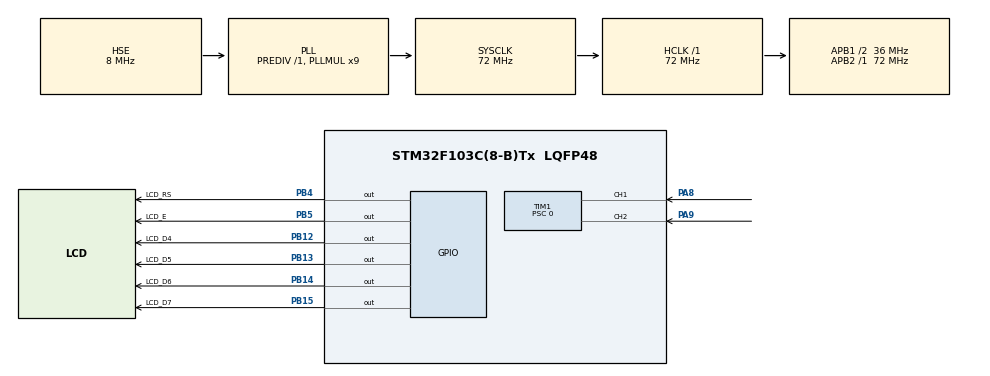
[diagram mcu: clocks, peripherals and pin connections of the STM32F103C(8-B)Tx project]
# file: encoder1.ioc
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Mcu.Family=STM32F1
Mcu.Name=STM32F103C(8-B)Tx
Mcu.Package=LQFP48
NVIC.PriorityGroup=NVIC_PRIORITYGROUP_4
PA13.Mode=Serial_Wire
PA13.Signal=SYS_JTMS-SWDIO
PA14.Mode=Serial_Wire
PA14.Signal=SYS_JTCK-SWCLK
PA8.GPIO_PuPd=GPIO_PULLUP
PA8.Signal=S_TIM1_CH1
PA9.GPIO_PuPd=GPIO_PULLUP
PA9.Signal=S_TIM1_CH2
PB12.GPIO_Label=LCD_D4
PB12.Signal=GPIO_Output
PB13.GPIO_Label=LCD_D5
PB13.Signal=GPIO_Output
PB14.GPIO_Label=LCD_D6
PB14.Signal=GPIO_Output
PB15.GPIO_Label=LCD_D7
PB15.Signal=GPIO_Output
PB4.GPIO_Label=LCD_RS
PB4.Signal=GPIO_Output
PB5.GPIO_Label=LCD_E
PB5.Signal=GPIO_Output
PD0-OSC_IN.Mode=HSE-External-Oscillator
PD0-OSC_IN.Signal=RCC_OSC_IN
PD1-OSC_OUT.Mode=HSE-External-Oscillator
PD1-OSC_OUT.Signal=RCC_OSC_OUT
ProjectManager.HeapSize=0x200
ProjectManager.StackSize=0x400
ProjectManager.TargetToolchain=SW4STM32
RCC.AHBFreq_Value=72000000
RCC.APB1CLKDivider=RCC_HCLK_DIV2
RCC.APB1Freq_Value=36000000
RCC.APB1TimFreq_Value=72000000
RCC.APB2Freq_Value=72000000
RCC.APB2TimFreq_Value=72000000
RCC.HCLKFreq_Value=72000000
RCC.PLLMUL=RCC_PLL_MUL9
RCC.PLLSourceVirtual=RCC_PLLSOURCE_HSE
RCC.SYSCLKFreq_VALUE=72000000
RCC.SYSCLKSource=RCC_SYSCLKSOURCE_PLLCLK
RCC.USBFreq_Value=72000000
SH.S_TIM1_CH1.0=TIM1_CH1,Encoder_Interface
SH.S_TIM1_CH2.0=TIM1_CH2,Encoder_Interface
TIM1.ClockDivision=TIM_CLOCKDIVISION_DIV1
TIM1.CounterMode=TIM_COUNTERMODE_UP
TIM1.EncoderMode=TIM_ENCODERMODE_TI1
TIM1.IC1Filter=0
TIM1.IC1Prescaler=TIM_ICPSC_DIV1
TIM1.IC2Filter=0
TIM1.IC2Prescaler=TIM_ICPSC_DIV1
TIM1.Period=255
TIM1.Prescaler=0
board=custom

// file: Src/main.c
/**
  ******************************************************************************
  * @file           : main.c
  * @brief          : Main program body
  ******************************************************************************
  ** This notice applies to any and all portions of this file
  * that are not between comment pairs USER CODE BEGIN and
  * USER CODE END. Other portions of this file, whether
  * inserted by the user or by software development tools
  * are owned by their respective copyright owners.
  *
  * COPYRIGHT(c) 2018 STMicroelectronics
  *
  * Redistribution and use in source and binary forms, with or without modification,
  * are permitted provided that the following conditions are met:
  *   1. Redistributions of source code must retain the above copyright notice,
  *      this list of conditions and the following disclaimer.
  *   2. Redistributions in binary form must reproduce the above copyright notice,
  *      this list of conditions and the following disclaimer in the documentation
  *      and/or other materials provided with the distribution.
  *   3. Neither the name of STMicroelectronics nor the names of its contributors
  *      may be used to endorse or promote products derived from this software
  *      without specific prior written permission.
  *
  * THIS SOFTWARE IS PROVIDED BY THE COPYRIGHT HOLDERS AND CONTRIBUTORS "AS IS"
  * AND ANY EXPRESS OR IMPLIED WARRANTIES, INCLUDING, BUT NOT LIMITED TO, THE
  * IMPLIED WARRANTIES OF MERCHANTABILITY AND FITNESS FOR A PARTICULAR PURPOSE ARE
  * DISCLAIMED. IN NO EVENT SHALL THE COPYRIGHT HOLDER OR CONTRIBUTORS BE LIABLE
  * FOR ANY DIRECT, INDIRECT, INCIDENTAL, SPECIAL, EXEMPLARY, OR CONSEQUENTIAL
  * DAMAGES (INCLUDING, BUT NOT LIMITED TO, PROCUREMENT OF SUBSTITUTE GOODS OR
  * SERVICES; LOSS OF USE, DATA, OR PROFITS; OR BUSINESS INTERRUPTION) HOWEVER
  * CAUSED AND ON ANY THEORY OF LIABILITY, WHETHER IN CONTRACT, STRICT LIABILITY,
  * OR TORT (INCLUDING NEGLIGENCE OR OTHERWISE) ARISING IN ANY WAY OUT OF THE USE
  * OF THIS SOFTWARE, EVEN IF ADVISED OF THE POSSIBILITY OF SUCH DAMAGE.
  *
  ******************************************************************************
  */
#include "main.h"
#include "stm32f1xx_hal.h"

/* USER CODE BEGIN Includes */
#include "hd44780.h"
/* USER CODE END Includes */

TIM_HandleTypeDef htim1;

/* USER CODE BEGIN PV */
/* Private variables ---------------------------------------------------------*/
uint8_t plota_valor = 0, atualiza_valores = 1, valor_atual, valor_anterior;

/* USER CODE END PV */

void SystemClock_Config(void);
static void MX_GPIO_Init(void);
static void MX_TIM1_Init(void);

/* USER CODE BEGIN PFP */
/* Private function prototypes -----------------------------------------------*/

/* USER CODE END PFP */

int main(void)
{

  /* MCU Configuration----------------------------------------------------------*/

  /* Reset of all peripherals, Initializes the Flash interface and the Systick. */
  HAL_Init();

  /* Configure the system clock */
  SystemClock_Config();

  /* Initialize all configured peripherals */
  MX_GPIO_Init();
  MX_TIM1_Init();
  /* USER CODE BEGIN 2 */
  HAL_Delay(100);
  lcdInit();
  HAL_TIM_Encoder_Start(&htim1,TIM_CHANNEL_ALL);
  /* USER CODE END 2 */

  /* Infinite loop */
  /* USER CODE BEGIN WHILE */

  lcdClrScr();
  lcdGoto(LCD_1st_LINE,0);
  lcdPuts("Encoder:\nValor=");
  lcdItos(valor_atual);

  while (1)
  {
	  valor_atual = TIM1->CNT;
	  if(atualiza_valores == 1)
	  {
		  valor_anterior = valor_atual;
		  atualiza_valores = 0;
	  }

	  if(valor_atual != valor_anterior)
	  {
		  valor_anterior = valor_atual;
		  plota_valor = 1;
		  //HAL_Delay(400);
	  }

	  if(plota_valor == 1)
	  {
		  lcdGoto(LCD_2nd_LINE,0);
		  lcdPuts("Valor=    ");
		  lcdGoto(LCD_2nd_LINE,6);
		  lcdItos(valor_atual);
		  plota_valor = 0;
	  }

  /* USER CODE END WHILE */

  }

}

void SystemClock_Config(void)
{

  RCC_OscInitTypeDef RCC_OscInitStruct;
  RCC_ClkInitTypeDef RCC_ClkInitStruct;

    /**Initializes the CPU, AHB and APB busses clocks
    */
  RCC_OscInitStruct.OscillatorType = RCC_OSCILLATORTYPE_HSE;
  RCC_OscInitStruct.HSEState = RCC_HSE_ON;
  RCC_OscInitStruct.HSEPredivValue = RCC_HSE_PREDIV_DIV1;
  RCC_OscInitStruct.HSIState = RCC_HSI_ON;
  RCC_OscInitStruct.PLL.PLLState = RCC_PLL_ON;
  RCC_OscInitStruct.PLL.PLLSource = RCC_PLLSOURCE_HSE;
  RCC_OscInitStruct.PLL.PLLMUL = RCC_PLL_MUL9;
  if (HAL_RCC_OscConfig(&RCC_OscInitStruct) != HAL_OK)
  {
    _Error_Handler(__FILE__, __LINE__);
  }

    /**Initializes the CPU, AHB and APB busses clocks
    */
  RCC_ClkInitStruct.ClockType = RCC_CLOCKTYPE_HCLK|RCC_CLOCKTYPE_SYSCLK
                              |RCC_CLOCKTYPE_PCLK1|RCC_CLOCKTYPE_PCLK2;
  RCC_ClkInitStruct.SYSCLKSource = RCC_SYSCLKSOURCE_PLLCLK;
  RCC_ClkInitStruct.AHBCLKDivider = RCC_SYSCLK_DIV1;
  RCC_ClkInitStruct.APB1CLKDivider = RCC_HCLK_DIV2;
  RCC_ClkInitStruct.APB2CLKDivider = RCC_HCLK_DIV1;

  if (HAL_RCC_ClockConfig(&RCC_ClkInitStruct, FLASH_LATENCY_2) != HAL_OK)
  {
    _Error_Handler(__FILE__, __LINE__);
  }

    /**Configure the Systick interrupt time
    */
  HAL_SYSTICK_Config(HAL_RCC_GetHCLKFreq()/1000);

    /**Configure the Systick
    */
  HAL_SYSTICK_CLKSourceConfig(SYSTICK_CLKSOURCE_HCLK);

  /* SysTick_IRQn interrupt configuration */
  HAL_NVIC_SetPriority(SysTick_IRQn, 0, 0);
}

/* TIM1 init function */
static void MX_TIM1_Init(void)
{

  TIM_Encoder_InitTypeDef sConfig;
  TIM_MasterConfigTypeDef sMasterConfig;

  htim1.Instance = TIM1;
  htim1.Init.Prescaler = 0;
  htim1.Init.CounterMode = TIM_COUNTERMODE_UP;
  htim1.Init.Period = 255;
  htim1.Init.ClockDivision = TIM_CLOCKDIVISION_DIV1;
  htim1.Init.RepetitionCounter = 0;
  htim1.Init.AutoReloadPreload = TIM_AUTORELOAD_PRELOAD_DISABLE;
  sConfig.EncoderMode = TIM_ENCODERMODE_TI1;
  sConfig.IC1Polarity = TIM_ICPOLARITY_RISING;
  sConfig.IC1Selection = TIM_ICSELECTION_DIRECTTI;
  sConfig.IC1Prescaler = TIM_ICPSC_DIV1;
  sConfig.IC1Filter = 0;
  sConfig.IC2Polarity = TIM_ICPOLARITY_RISING;
  sConfig.IC2Selection = TIM_ICSELECTION_DIRECTTI;
  sConfig.IC2Prescaler = TIM_ICPSC_DIV1;
  sConfig.IC2Filter = 0;
  if (HAL_TIM_Encoder_Init(&htim1, &sConfig) != HAL_OK)
  {
    _Error_Handler(__FILE__, __LINE__);
  }

  sMasterConfig.MasterOutputTrigger = TIM_TRGO_RESET;
  sMasterConfig.MasterSlaveMode = TIM_MASTERSLAVEMODE_DISABLE;
  if (HAL_TIMEx_MasterConfigSynchronization(&htim1, &sMasterConfig) != HAL_OK)
  {
    _Error_Handler(__FILE__, __LINE__);
  }

}

/** Configure pins as
        * Analog
        * Input
        * Output
        * EVENT_OUT
        * EXTI
*/
static void MX_GPIO_Init(void)
{

  GPIO_InitTypeDef GPIO_InitStruct;

  /* GPIO Ports Clock Enable */
  __HAL_RCC_GPIOD_CLK_ENABLE();
  __HAL_RCC_GPIOB_CLK_ENABLE();
  __HAL_RCC_GPIOA_CLK_ENABLE();

  /*Configure GPIO pin Output Level */
  HAL_GPIO_WritePin(GPIOB, LCD_D4_Pin|LCD_D5_Pin|LCD_D6_Pin|LCD_D7_Pin
                          |LCD_RS_Pin|LCD_E_Pin, GPIO_PIN_RESET);

  /*Configure GPIO pins : LCD_D4_Pin LCD_D5_Pin LCD_D6_Pin LCD_D7_Pin
                           LCD_RS_Pin LCD_E_Pin */
  GPIO_InitStruct.Pin = LCD_D4_Pin|LCD_D5_Pin|LCD_D6_Pin|LCD_D7_Pin
                          |LCD_RS_Pin|LCD_E_Pin;
  GPIO_InitStruct.Mode = GPIO_MODE_OUTPUT_PP;
  GPIO_InitStruct.Pull = GPIO_NOPULL;
  GPIO_InitStruct.Speed = GPIO_SPEED_FREQ_LOW;
  HAL_GPIO_Init(GPIOB, &GPIO_InitStruct);

}

void _Error_Handler(char *file, int line)
{
  while(1)
  {
  }
}

/************************ (C) COPYRIGHT STMicroelectronics *****END OF FILE****/
